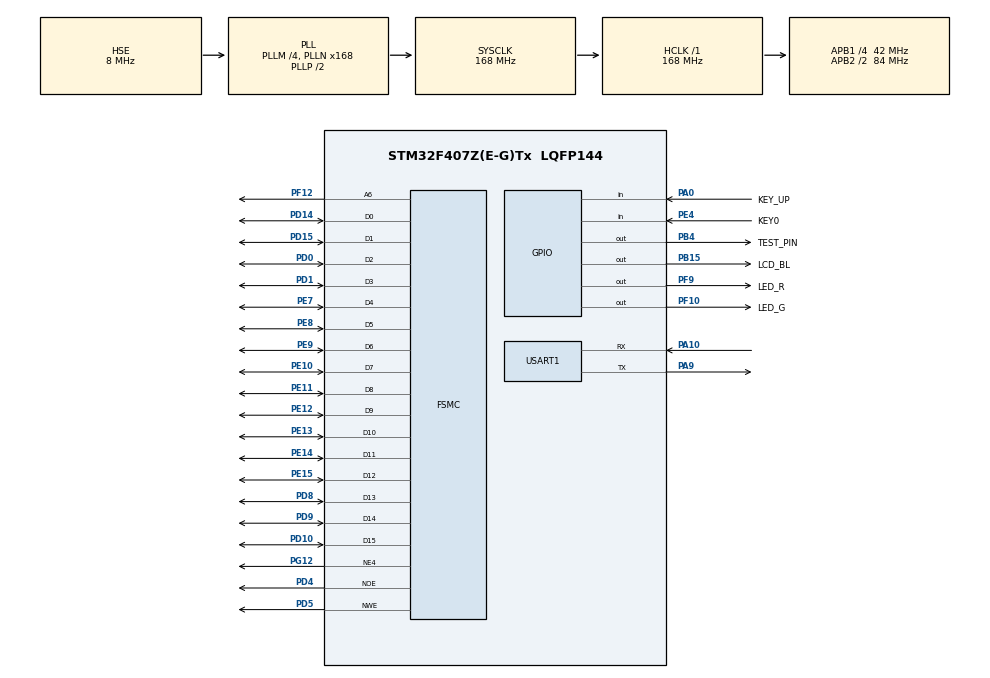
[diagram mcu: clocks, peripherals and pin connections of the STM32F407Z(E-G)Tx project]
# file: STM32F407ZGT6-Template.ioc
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FSMC.AddressSetupTime4=2
FSMC.BusTurnAroundDuration4=0
FSMC.DataSetupTime4=16
FSMC.ExtendedAddressSetupTime4=4
FSMC.ExtendedBusTurnAroundDuration4=0
FSMC.ExtendedDataSetupTime4=9
FSMC.ExtendedMode4=FSMC_EXTENDED_MODE_ENABLE
Mcu.Family=STM32F4
Mcu.Name=STM32F407Z(E-G)Tx
Mcu.Package=LQFP144
NVIC.PriorityGroup=NVIC_PRIORITYGROUP_4
NVIC.TIM7_IRQn=true\:0\:0\:false\:false\:true\:true\:true\:true
NVIC.USART1_IRQn=true\:0\:0\:false\:false\:true\:true\:true\:true
NVIC.WWDG_IRQn=true\:0\:0\:false\:false\:true\:true\:true\:true
PA0-WKUP.GPIO_Label=KEY_UP
PA0-WKUP.GPIO_PuPd=GPIO_PULLDOWN
PA0-WKUP.Signal=GPIO_Input
PA10.Mode=Asynchronous
PA10.Signal=USART1_RX
PA13.Mode=Serial_Wire
PA13.Signal=SYS_JTMS-SWDIO
PA14.Mode=Serial_Wire
PA14.Signal=SYS_JTCK-SWCLK
PA9.Mode=Asynchronous
PA9.Signal=USART1_TX
PB15.GPIO_Label=LCD_BL
PB15.Signal=GPIO_Output
PB4.GPIO_Label=TEST_PIN
PB4.GPIO_ModeDefaultOutputPP=GPIO_MODE_OUTPUT_PP
PB4.GPIO_Speed=GPIO_SPEED_FREQ_HIGH
PB4.PinState=GPIO_PIN_SET
PB4.Signal=GPIO_Output
PC14-OSC32_IN.Mode=LSE-External-Oscillator
PC14-OSC32_IN.Signal=RCC_OSC32_IN
PC15-OSC32_OUT.Mode=LSE-External-Oscillator
PC15-OSC32_OUT.Signal=RCC_OSC32_OUT
PD0.Signal=FSMC_D2_DA2
PD1.Signal=FSMC_D3_DA3
PD10.Signal=FSMC_D15_DA15
PD14.Signal=FSMC_D0_DA0
PD15.Signal=FSMC_D1_DA1
PD4.Signal=FSMC_NOE
PD5.Signal=FSMC_NWE
PD8.Signal=FSMC_D13_DA13
PD9.Signal=FSMC_D14_DA14
PE10.Signal=FSMC_D7_DA7
PE11.Signal=FSMC_D8_DA8
PE12.Signal=FSMC_D9_DA9
PE13.Signal=FSMC_D10_DA10
PE14.Signal=FSMC_D11_DA11
PE15.Signal=FSMC_D12_DA12
PE4.GPIO_Label=KEY0
PE4.GPIO_PuPd=GPIO_PULLDOWN
PE4.Signal=GPIO_Input
PE7.Signal=FSMC_D4_DA4
PE8.Signal=FSMC_D5_DA5
PE9.Signal=FSMC_D6_DA6
PF10.GPIO_Label=LED_G
PF10.GPIO_PuPd=GPIO_PULLUP
PF10.PinState=GPIO_PIN_SET
PF10.Signal=GPIO_Output
PF12.Signal=FSMC_A6
PF9.GPIO_Label=LED_R
PF9.GPIO_PuPd=GPIO_PULLUP
PF9.PinState=GPIO_PIN_SET
PF9.Signal=GPIO_Output
PG12.Mode=NorPsramChipSelect4_4
PG12.Signal=FSMC_NE4
PH0-OSC_IN.Mode=HSE-External-Oscillator
PH0-OSC_IN.Signal=RCC_OSC_IN
PH1-OSC_OUT.Mode=HSE-External-Oscillator
PH1-OSC_OUT.Signal=RCC_OSC_OUT
ProjectManager.HeapSize=0x200
ProjectManager.StackSize=0x400
ProjectManager.TargetToolchain=MDK-ARM V5.27
RCC.48MHZClocksFreq_Value=48000000
RCC.AHBFreq_Value=168000000
RCC.APB1CLKDivider=RCC_HCLK_DIV4
RCC.APB1Freq_Value=42000000
RCC.APB1TimFreq_Value=84000000
RCC.APB2CLKDivider=RCC_HCLK_DIV2
RCC.APB2Freq_Value=84000000
RCC.APB2TimFreq_Value=168000000
RCC.CortexFreq_Value=168000000
RCC.FLatency=FLASH_LATENCY_5
RCC.HCLKFreq_Value=168000000
RCC.HSE_VALUE=8000000
RCC.HSI_VALUE=16000000
RCC.PLLM=4
RCC.PLLN=168
RCC.PLLQ=7
RCC.PLLSourceVirtual=RCC_PLLSOURCE_HSE
RCC.SYSCLKFreq_VALUE=168000000
RCC.SYSCLKSource=RCC_SYSCLKSOURCE_PLLCLK
RCC.VCOOutputFreq_Value=336000000
SH.FSMC_A6.0=FSMC_A6,A6_4
SH.FSMC_D0_DA0.0=FSMC_D0,16b-d4
SH.FSMC_D10_DA10.0=FSMC_D10,16b-d4
SH.FSMC_D11_DA11.0=FSMC_D11,16b-d4
SH.FSMC_D12_DA12.0=FSMC_D12,16b-d4
SH.FSMC_D13_DA13.0=FSMC_D13,16b-d4
SH.FSMC_D14_DA14.0=FSMC_D14,16b-d4
SH.FSMC_D15_DA15.0=FSMC_D15,16b-d4
SH.FSMC_D1_DA1.0=FSMC_D1,16b-d4
SH.FSMC_D2_DA2.0=FSMC_D2,16b-d4
SH.FSMC_D3_DA3.0=FSMC_D3,16b-d4
SH.FSMC_D4_DA4.0=FSMC_D4,16b-d4
SH.FSMC_D5_DA5.0=FSMC_D5,16b-d4
SH.FSMC_D6_DA6.0=FSMC_D6,16b-d4
SH.FSMC_D7_DA7.0=FSMC_D7,16b-d4
SH.FSMC_D8_DA8.0=FSMC_D8,16b-d4
SH.FSMC_D9_DA9.0=FSMC_D9,16b-d4
SH.FSMC_NOE.0=FSMC_NOE,Lcd4
SH.FSMC_NWE.0=FSMC_NWE,Lcd4
TIM6.Period=10000
TIM6.Prescaler=84
TIM7.Period=10000-1
TIM7.Prescaler=8400-1
USART1.VirtualMode=VM_ASYNC
VP_RNG_VS_RNG.Mode=RNG_Activate
VP_TIM6_VS_ClockSourceINT.Mode=Enable_Timer
VP_TIM7_VS_ClockSourceINT.Mode=Enable_Timer
VP_WWDG_VS_WWDG.Mode=WWDG_Activate
WWDG.Counter=127
WWDG.EWIMode=WWDG_EWI_ENABLE
WWDG.Prescaler=WWDG_PRESCALER_8
WWDG.Window=100
board=custom

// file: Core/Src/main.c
/* USER CODE BEGIN Header */
/**
  ******************************************************************************
  * @file           : main.c
  * @brief          : Main program body
  ******************************************************************************
  * @attention
  *
  * Copyright (c) 2023 STMicroelectronics.
  * All rights reserved.
  *
  * This software is licensed under terms that can be found in the LICENSE file
  * in the root directory of this software component.
  * If no LICENSE file comes with this software, it is provided AS-IS.
  *
  ******************************************************************************
  */
/* USER CODE END Header */
#include "main.h"
#include "rng.h"
#include "tim.h"
#include "usart.h"
#include "wwdg.h"
#include "gpio.h"
#include "fsmc.h"

/* USER CODE BEGIN PV */
uint8_t idle_rec_buf[100];
uint8_t iwdog_count = 8;
/* USER CODE END PV */

void SystemClock_Config(void);

int main(void)
{

  /* MCU Configuration--------------------------------------------------------*/

  /* Reset of all peripherals, Initializes the Flash interface and the Systick. */
  HAL_Init();

  /* Configure the system clock */
  SystemClock_Config();

  /* Initialize all configured peripherals */
  MX_GPIO_Init();
  MX_USART1_UART_Init();
  MX_TIM7_Init();
  MX_RNG_Init();
  MX_FSMC_Init();
  MX_TIM6_Init();

  /* USER CODE BEGIN 2 */
	printf("窗口看门狗的时钟来直PLCK1 = 42Mhz \r\n");
	printf("窗口看门狗的分频默认 /4096*设定的分频 本次设置8分频  42000000/4096/8 = 1281hz 左右\r\n\r\n");
	printf("窗口看门狗寄存器 WWDG_CR 是一个递减计数器 最高位(bit7)选择是否开启看门狗\r\n");
	printf("窗口看门狗寄存器 WWDG_CR bit6:bit0 保存当前计数值,当计数值小于0x40即等于0x3f时复位系统\r\n");
	printf("窗口看门狗寄存器 WWDG_CR 在开启中断后在计数值位0x40时会进入中断会留给我们一个计数值的时间来执行我们的操作\r\n");
	printf("窗口看门狗寄存器 WWDG_CR 本次设置的值为127\r\n\r\n");
	printf("窗口看门狗寄存器 WWDG_CFR 是用来保存我们设置的计数值设置\r\n");
	printf("窗口看门狗寄存器 WWDG_CFR(我们设置的窗口值)中的值 > WWDG_CR(实际的计数值)时才能喂狗\r\n");
	printf("窗口看门狗寄存器 WWDG_CFR(我们设置的窗口值)中的值 < WWDG_CR(实际的计数值)时喂狗也会引起系统护卫\r\n");
	printf("窗口看门狗寄存器 WWDG_CFR 本次设置的值为100\r\n\r\n");
	printf("本次窗口看门狗向下计数一的时间为 1/1281 = 0.0007806s \r\n");
	printf("本次窗口看门狗在计数值为127-100之间是不能喂狗的时间为 0.0007806s*27= 0.021077s \r\n");
	printf("本次窗口看门狗在计数值为100-64之间可以能喂狗时间为 0.021077s - 0.04995s之间\r\n\r\n");
	HAL_TIM_Base_Start_IT(&htim7);

	lcd_init(0, RED);
	g_back_color = RED;
	lcd_show_string(10, 10+24*0, 24, "5.1 Independent Watch Dog", BLACK);
	lcd_show_string(10, 10+24*2, 24, "use key to stop system restart", BLACK);

	HAL_UARTEx_ReceiveToIdle_IT(&huart1, idle_rec_buf, 100);	/* 每次使用发生中断后不会自动恢复,要再次使用这个函数 */
	printf("system success\r\n");

		MX_WWDG_Init();					/* 要放在这个地方不能放在MX自动生成的地方不然个人初始化程序时间一长就会自动复位 */
	__HAL_WWDG_ENABLE_IT(&hwwdg,WWDG_IT_EWI);
  /* USER CODE END 2 */

  /* Infinite loop */
  /* USER CODE BEGIN WHILE */
  while (1)
  {
		HAL_Delay(23);
		HAL_WWDG_Refresh(&hwwdg);
		HAL_GPIO_TogglePin(LED_G_GPIO_Port,LED_G_Pin);

		HAL_Delay(47);
		HAL_WWDG_Refresh(&hwwdg);
		HAL_GPIO_TogglePin(LED_G_GPIO_Port,LED_G_Pin);
    /* USER CODE END WHILE */

  }
}

void SystemClock_Config(void)
{
  RCC_OscInitTypeDef RCC_OscInitStruct = {0};
  RCC_ClkInitTypeDef RCC_ClkInitStruct = {0};

  /** Configure the main internal regulator output voltage
  */
  __HAL_RCC_PWR_CLK_ENABLE();
  __HAL_PWR_VOLTAGESCALING_CONFIG(PWR_REGULATOR_VOLTAGE_SCALE1);

  /** Initializes the RCC Oscillators according to the specified parameters
  * in the RCC_OscInitTypeDef structure.
  */
  RCC_OscInitStruct.OscillatorType = RCC_OSCILLATORTYPE_HSE;
  RCC_OscInitStruct.HSEState = RCC_HSE_ON;
  RCC_OscInitStruct.PLL.PLLState = RCC_PLL_ON;
  RCC_OscInitStruct.PLL.PLLSource = RCC_PLLSOURCE_HSE;
  RCC_OscInitStruct.PLL.PLLM = 4;
  RCC_OscInitStruct.PLL.PLLN = 168;
  RCC_OscInitStruct.PLL.PLLP = RCC_PLLP_DIV2;
  RCC_OscInitStruct.PLL.PLLQ = 7;
  if (HAL_RCC_OscConfig(&RCC_OscInitStruct) != HAL_OK)
  {
    Error_Handler();
  }

  /** Initializes the CPU, AHB and APB buses clocks
  */
  RCC_ClkInitStruct.ClockType = RCC_CLOCKTYPE_HCLK|RCC_CLOCKTYPE_SYSCLK
                              |RCC_CLOCKTYPE_PCLK1|RCC_CLOCKTYPE_PCLK2;
  RCC_ClkInitStruct.SYSCLKSource = RCC_SYSCLKSOURCE_PLLCLK;
  RCC_ClkInitStruct.AHBCLKDivider = RCC_SYSCLK_DIV1;
  RCC_ClkInitStruct.APB1CLKDivider = RCC_HCLK_DIV4;
  RCC_ClkInitStruct.APB2CLKDivider = RCC_HCLK_DIV2;

  if (HAL_RCC_ClockConfig(&RCC_ClkInitStruct, FLASH_LATENCY_5) != HAL_OK)
  {
    Error_Handler();
  }
}

/* USER CODE BEGIN 4 */

void HAL_WWDG_EarlyWakeupCallback(WWDG_HandleTypeDef *hwwdg)
{
	printf("wwds timeout \r\n");

}
/* 定时器回调函数 */
void HAL_TIM_PeriodElapsedCallback(TIM_HandleTypeDef *htim)
{
	/* 定时一秒 */
	if(htim == &htim7)
	{

	}
}

/* 串口IDLE中断函数 */
void HAL_UARTEx_RxEventCallback(UART_HandleTypeDef *huart, uint16_t Size)
{
	if(huart == &huart1)
	{
		idle_rec_buf[Size] = '\0';

		HAL_UART_Transmit(&huart1, idle_rec_buf, strlen((char*)idle_rec_buf), 0xff);

		HAL_UARTEx_ReceiveToIdle_IT(&huart1, idle_rec_buf, 100);	/* 再次打开串口IDLE中断接收函数 */
	}
}
/* USER CODE END 4 */

void Error_Handler(void)
{
  __disable_irq();
  while (1)
  {
  }
}
